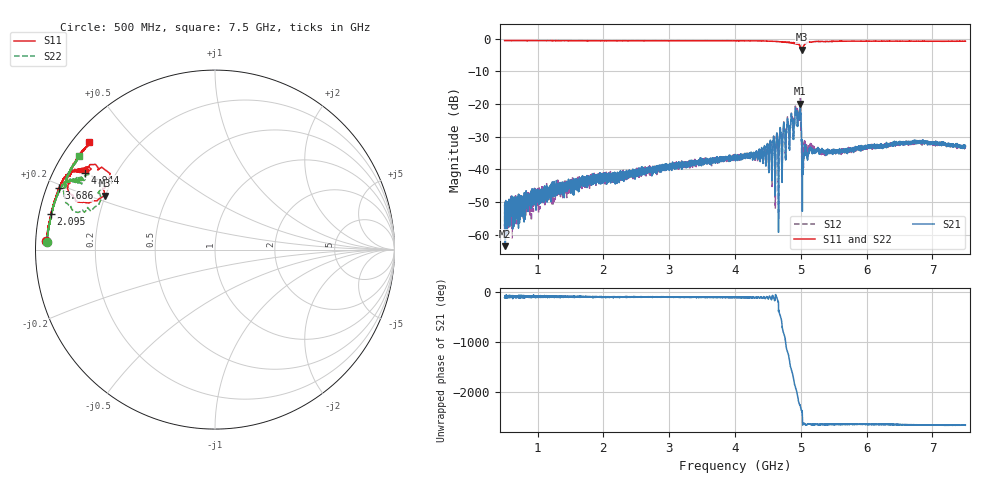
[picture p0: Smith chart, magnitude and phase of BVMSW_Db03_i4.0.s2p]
!Keysight Technologies,M9374A,MY55442783,A.12.55.05
!Date: Friday, May 21, 2021 11:01:00
!Correction: S11(Full 2 Port(1,2))
!S21(Full 2 Port(1,2))
!S12(Full 2 Port(1,2))
!S22(Full 2 Port(1,2))
!S2P File: Measurements: S11, S21, S12, S22:
# Hz S  RI  R 50
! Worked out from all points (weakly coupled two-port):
!   7001 points, 500 MHz to 7.5 GHz, reference 50 ohm
!   highest |S21| = -19.83 dB at 4.992 GHz (marker M1); lowest = -63.5 dB at 511 MHz (marker M2)
!   lowest |S11| = -3.3 dB at 5.016 GHz (marker M3), VSWR 5.32, Z = 9.89 + j11.1 ohm
!   |S11| at or under -10 dB: nowhere
!   |S22| runs from -3.2 to -0.5 dB; largest |S21 - S12| = 0.047
!   S11 on the Smith chart (normalised r, x): 500 MHz: 0.03, +0.03; 2.095 GHz: 0.03, +0.11; 3.686 GHz: 0.03, +0.19; 4.944 GHz: 0.09, +0.27; 7.5 GHz: 0.05, +0.37
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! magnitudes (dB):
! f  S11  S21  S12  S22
! 500 MHz  -0.5  -51.0  -58.5  -0.6
! 511 MHz  -0.5  -63.5  -52.4  -0.6
! 730 MHz  -0.5  -50.4  -50.1  -0.6
! 1.667 GHz  -0.6  -43.1  -44.9  -0.6
! 2.095 GHz  -0.6  -42.9  -41.6  -0.6
! 2.834 GHz  -0.6  -38.8  -39.6  -0.6
! 3.686 GHz  -0.6  -37.2  -37.0  -0.7
! 4 GHz  -0.6  -36.2  -36.7  -0.6
! 4.563 GHz  -0.7  -40.8  -45.2  -0.8
! 4.586 GHz  -0.8  -30.0  -29.9  -0.8
! 4.614 GHz  -0.8  -43.0  -44.3  -0.8
! 4.636 GHz  -0.8  -28.8  -29.1  -0.9
! 4.66 GHz  -0.8  -50.5  -47.7  -0.9
! 4.688 GHz  -0.9  -27.5  -27.3  -1.0
! 4.712 GHz  -0.9  -42.3  -40.9  -1.0
! 4.944 GHz  -1.5  -26.1  -25.1  -1.4
! 4.992 GHz  -2.8  -19.8  -18.3  -2.9
! 5.016 GHz  -3.3  -33.3  -38.5  -3.2
! 5.052 GHz  -1.9  -34.6  -32.5  -1.8
! 5.167 GHz  -1.0  -34.4  -32.9  -1.0
! 6.334 GHz  -0.7  -32.5  -32.5  -0.7
! 7.5 GHz  -0.7  -32.9  -32.5  -0.7
